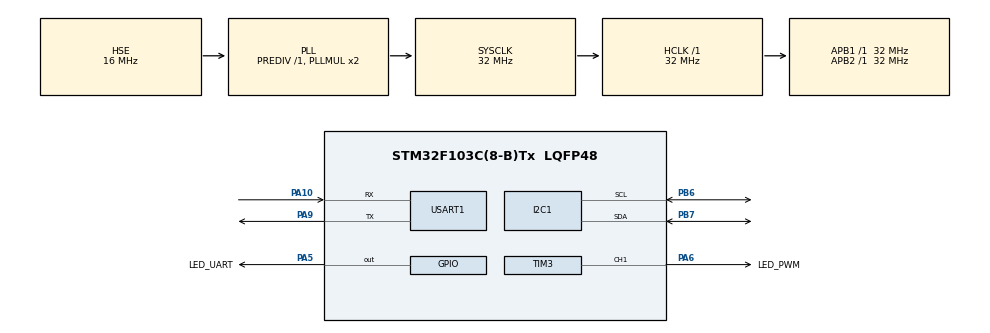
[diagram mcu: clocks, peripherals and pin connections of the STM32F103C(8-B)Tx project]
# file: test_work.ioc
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Mcu.Family=STM32F1
Mcu.Name=STM32F103C(8-B)Tx
Mcu.Package=LQFP48
NVIC.PriorityGroup=NVIC_PRIORITYGROUP_4
PA10.Mode=Asynchronous
PA10.Signal=USART1_RX
PA5.GPIO_Label=LED_UART
PA5.PinState=GPIO_PIN_SET
PA5.Signal=GPIO_Output
PA6.GPIO_Label=LED_PWM
PA6.Signal=S_TIM3_CH1
PA9.Mode=Asynchronous
PA9.Signal=USART1_TX
PB6.Mode=I2C
PB6.Signal=I2C1_SCL
PB7.Mode=I2C
PB7.Signal=I2C1_SDA
PD0-OSC_IN.Mode=HSE-External-Oscillator
PD0-OSC_IN.Signal=RCC_OSC_IN
PD1-OSC_OUT.Mode=HSE-External-Oscillator
PD1-OSC_OUT.Signal=RCC_OSC_OUT
ProjectManager.HeapSize=0x200
ProjectManager.StackSize=0x400
ProjectManager.TargetToolchain=STM32CubeIDE
RCC.AHBFreq_Value=32000000
RCC.APB1Freq_Value=32000000
RCC.APB1TimFreq_Value=32000000
RCC.APB2Freq_Value=32000000
RCC.APB2TimFreq_Value=32000000
RCC.HCLKFreq_Value=32000000
RCC.HSE_VALUE=16000000
RCC.PLLSourceVirtual=RCC_PLLSOURCE_HSE
RCC.SYSCLKFreq_VALUE=32000000
RCC.SYSCLKSource=RCC_SYSCLKSOURCE_PLLCLK
RCC.USBFreq_Value=32000000
SH.S_TIM3_CH1.0=TIM3_CH1,PWM Generation1 CH1
TIM3.Channel-PWM\ Generation1\ CH1=TIM_CHANNEL_1
USART1.VirtualMode=VM_ASYNC
VP_SYS_VS_ND.Mode=No_Debug
VP_TIM3_VS_ClockSourceINT.Mode=Internal
board=custom

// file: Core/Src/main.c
/* USER CODE BEGIN Header */
/**
  ******************************************************************************
  * @file           : main.c
  * @brief          : Main program body
  ******************************************************************************
  * @attention
  *
  * Copyright (c) 2024 STMicroelectronics.
  * All rights reserved.
  *
  * This software is licensed under terms that can be found in the LICENSE file
  * in the root directory of this software component.
  * If no LICENSE file comes with this software, it is provided AS-IS.
  *
  ******************************************************************************
  */
/* USER CODE END Header */
#include "main.h"
#include "i2c.h"
#include "tim.h"
#include "usart.h"
#include "gpio.h"

/* USER CODE BEGIN Includes */
#include "string.h"

/* USER CODE END Includes */

/* USER CODE BEGIN PD */
#define USART_BUFFER_SIZE 512U
#define LED_PWD_FREQ 	200U
#define LED_PWM_TIM_CHANNEL TIM_CHANNEL_1

#define I2C_BUFFER_SIZE 128U
#define I2C_SLAVE_ADDRESS 0xA0
#define I2C_MEM_ADDRESS 0x00
#define I2C_MEM_ADD_SIZE 2U
/* USER CODE END PD */

/* USER CODE BEGIN PV */
static uint8_t usart_buffer[USART_BUFFER_SIZE];
static uint8_t i2c_buffer[I2C_BUFFER_SIZE];

enum COMMAND_N_LIST {
	COMMAND_LED_U_OFF = 1,
	COMMAND_LED_U_ON,
	COMMAND_LED_PWM_OFF,
	COMMAND_LED_PWM_ON,
	COMMAND_I2C_READ,
	COMMAND_END,
};

const static char *COMMAND_LIST[] = {
		[COMMAND_LED_U_OFF] = "led1 off",
		[COMMAND_LED_U_ON] =  "led1 on",
		[COMMAND_LED_PWM_OFF] =  "led2 off",
		[COMMAND_LED_PWM_ON] =  "led2 on",
		[COMMAND_I2C_READ] = "read i2c",
};

static int duty_percent = 30;

static struct I2C_MEM_PARAM {
	uint16_t slave_addr;
	uint16_t mem_addr;
	uint16_t mem_addr_size;
	uint16_t buffer_size;	// data size
	uint8_t *buffer;
} i2c_dev;
/* USER CODE END PV */

void SystemClock_Config(void);

/* USER CODE BEGIN 0 */
static void I2C_SlaveDeviceInit(void)
{
	i2c_dev.buffer = i2c_buffer;
	i2c_dev.buffer_size = I2C_BUFFER_SIZE;
	i2c_dev.slave_addr = I2C_SLAVE_ADDRESS;
	i2c_dev.mem_addr = I2C_MEM_ADDRESS;
	i2c_dev.mem_addr_size = I2C_MEM_ADD_SIZE;
}

static void USART_SendMessage(uint8_t *buffer, uint16_t size)
{
	if (size > USART_BUFFER_SIZE) {
		size = USART_BUFFER_SIZE;
	}
	memcpy(usart_buffer, buffer, size);
	HAL_UART_Transmit(&huart1, usart_buffer, size, 100);
}

static enum COMMAND_N_LIST Command_receive(void)
{
	HAL_UART_Receive(&huart1, usart_buffer, USART_BUFFER_SIZE, 100);

	for (enum COMMAND_N_LIST i = 1; i < COMMAND_END; i++) {
		if (strcmp(COMMAND_LIST[i], (char *)usart_buffer) == 0) {
			return i;
		}
	}
	return 0;
}

static void LED_PWM_Init(void)
{
	uint32_t APBfreq = HAL_RCC_GetPCLK1Freq();
    APBfreq *= (RCC->CFGR & RCC_CFGR_PPRE1) == 0 ? 1 : 2;

    uint32_t TIMfreq = APBfreq;
	htim3.Init.Prescaler = 0;
    while ((TIMfreq / LED_PWD_FREQ) > 65535) {
		htim3.Init.Prescaler += 2;
		TIMfreq = APBfreq / htim3.Init.Prescaler;
    }
    if (htim3.Init.Prescaler > 0)
		htim3.Init.Prescaler -= 1;

	htim3.Init.Period = (APBfreq / LED_PWD_FREQ) - 1;

	htim3.Instance = TIM3;
	if (HAL_TIM_Base_Init(&htim3) != HAL_OK)
	{
		Error_Handler();
	}
}

static void Command_handler(enum COMMAND_N_LIST command)
{
	switch (command)
	{
	case COMMAND_LED_U_OFF:
		HAL_GPIO_WritePin(LED_UART_GPIO_Port, LED_UART_Pin, GPIO_PIN_SET);
		break;
	case COMMAND_LED_U_ON:
		HAL_GPIO_WritePin(LED_UART_GPIO_Port, LED_UART_Pin, GPIO_PIN_RESET);
		break;
	case COMMAND_LED_PWM_OFF:
		HAL_TIMEx_PWMN_Stop(&htim3, LED_PWM_TIM_CHANNEL);
		break;
	case COMMAND_LED_PWM_ON:
		int ARR = __HAL_TIM_GET_AUTORELOAD(&htim3);
		__HAL_TIM_SET_COMPARE(&htim3, TIM_CHANNEL_1, (duty_percent * ARR / 100));
		HAL_TIMEx_PWMN_Start(&htim3, LED_PWM_TIM_CHANNEL);
		break;
	case COMMAND_I2C_READ:
		HAL_I2C_Mem_Read(&hi2c1, i2c_dev.slave_addr, i2c_dev.mem_addr, i2c_dev.mem_addr_size, i2c_dev.buffer, i2c_dev.buffer_size, 100);
		USART_SendMessage(i2c_dev.buffer, i2c_dev.buffer_size);
		break;
	default:
		break;
	}
}

/* USER CODE END 0 */

int main(void)
{

  /* MCU Configuration--------------------------------------------------------*/

  /* Reset of all peripherals, Initializes the Flash interface and the Systick. */
  HAL_Init();

  /* Configure the system clock */
  SystemClock_Config();

  /* Initialize all configured peripherals */
  MX_GPIO_Init();
  MX_I2C1_Init();
  MX_TIM3_Init();
  MX_USART1_UART_Init();
  /* USER CODE BEGIN 2 */
  static enum COMMAND_N_LIST cmd = 0;

  I2C_SlaveDeviceInit();
  LED_PWM_Init();

  /* USER CODE END 2 */

  /* Infinite loop */
  /* USER CODE BEGIN WHILE */
  while (1)
  {
	  cmd = Command_receive();
	  if (cmd != 0) {
		  Command_handler(cmd);
	  }

    /* USER CODE END WHILE */

  }
}

void SystemClock_Config(void)
{
  RCC_OscInitTypeDef RCC_OscInitStruct = {0};
  RCC_ClkInitTypeDef RCC_ClkInitStruct = {0};

  /** Initializes the RCC Oscillators according to the specified parameters
  * in the RCC_OscInitTypeDef structure.
  */
  RCC_OscInitStruct.OscillatorType = RCC_OSCILLATORTYPE_HSE;
  RCC_OscInitStruct.HSEState = RCC_HSE_ON;
  RCC_OscInitStruct.HSEPredivValue = RCC_HSE_PREDIV_DIV1;
  RCC_OscInitStruct.HSIState = RCC_HSI_ON;
  RCC_OscInitStruct.PLL.PLLState = RCC_PLL_ON;
  RCC_OscInitStruct.PLL.PLLSource = RCC_PLLSOURCE_HSE;
  RCC_OscInitStruct.PLL.PLLMUL = RCC_PLL_MUL2;
  if (HAL_RCC_OscConfig(&RCC_OscInitStruct) != HAL_OK)
  {
    Error_Handler();
  }

  /** Initializes the CPU, AHB and APB buses clocks
  */
  RCC_ClkInitStruct.ClockType = RCC_CLOCKTYPE_HCLK|RCC_CLOCKTYPE_SYSCLK
                              |RCC_CLOCKTYPE_PCLK1|RCC_CLOCKTYPE_PCLK2;
  RCC_ClkInitStruct.SYSCLKSource = RCC_SYSCLKSOURCE_PLLCLK;
  RCC_ClkInitStruct.AHBCLKDivider = RCC_SYSCLK_DIV1;
  RCC_ClkInitStruct.APB1CLKDivider = RCC_HCLK_DIV1;
  RCC_ClkInitStruct.APB2CLKDivider = RCC_HCLK_DIV1;

  if (HAL_RCC_ClockConfig(&RCC_ClkInitStruct, FLASH_LATENCY_1) != HAL_OK)
  {
    Error_Handler();
  }
}

void Error_Handler(void)
{
  __disable_irq();
  while (1)
  {
  }
}
